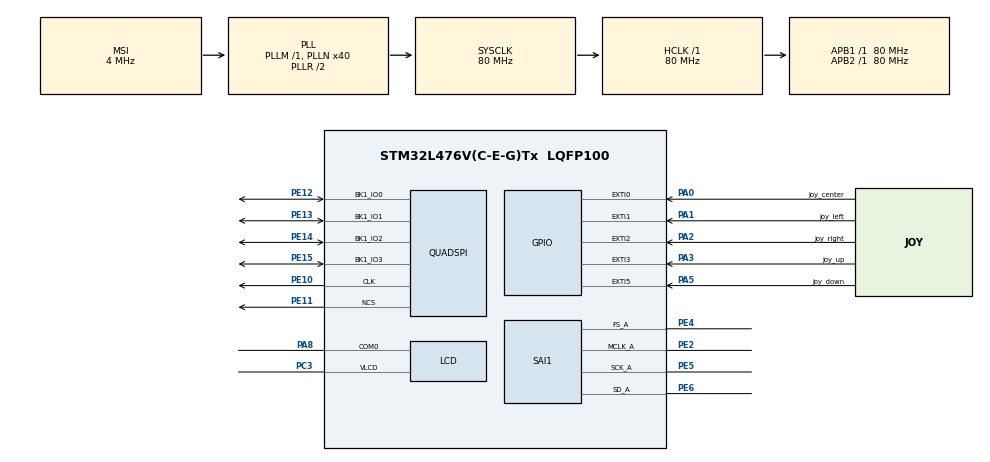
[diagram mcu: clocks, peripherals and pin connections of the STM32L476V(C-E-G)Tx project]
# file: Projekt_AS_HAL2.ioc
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DFSDM1.Filter_injChannel2_FIL0=DFSDM_CHANNEL_2
Dma.DFSDM1_FLT0.1.Direction=DMA_PERIPH_TO_MEMORY
Dma.DFSDM1_FLT0.1.Instance=DMA1_Channel4
Dma.DFSDM1_FLT0.1.MemDataAlignment=DMA_MDATAALIGN_WORD
Dma.DFSDM1_FLT0.1.MemInc=DMA_MINC_ENABLE
Dma.DFSDM1_FLT0.1.Mode=DMA_CIRCULAR
Dma.DFSDM1_FLT0.1.PeriphDataAlignment=DMA_PDATAALIGN_WORD
Dma.DFSDM1_FLT0.1.PeriphInc=DMA_PINC_DISABLE
Dma.DFSDM1_FLT0.1.Priority=DMA_PRIORITY_HIGH
Dma.Request0=SAI1_A
Dma.Request1=DFSDM1_FLT0
Dma.SAI1_A.0.Direction=DMA_MEMORY_TO_PERIPH
Dma.SAI1_A.0.Instance=DMA2_Channel1
Dma.SAI1_A.0.MemDataAlignment=DMA_MDATAALIGN_HALFWORD
Dma.SAI1_A.0.MemInc=DMA_MINC_ENABLE
Dma.SAI1_A.0.Mode=DMA_CIRCULAR
Dma.SAI1_A.0.PeriphDataAlignment=DMA_PDATAALIGN_HALFWORD
Dma.SAI1_A.0.PeriphInc=DMA_PINC_DISABLE
Dma.SAI1_A.0.Priority=DMA_PRIORITY_HIGH
Mcu.Family=STM32L4
Mcu.Name=STM32L476V(C-E-G)Tx
Mcu.Package=LQFP100
NVIC.DMA1_Channel4_IRQn=true\:0\:0\:false\:false\:true\:false
NVIC.DMA2_Channel1_IRQn=true\:0\:0\:false\:false\:true\:false
NVIC.EXTI0_IRQn=true\:0\:0\:false\:false\:true\:true
NVIC.EXTI1_IRQn=true\:0\:0\:false\:false\:true\:true
NVIC.EXTI2_IRQn=true\:0\:0\:false\:false\:true\:true
NVIC.EXTI3_IRQn=true\:0\:0\:false\:false\:true\:true
NVIC.EXTI9_5_IRQn=true\:0\:0\:false\:false\:true\:true
NVIC.PriorityGroup=NVIC_PRIORITYGROUP_4
NVIC.QUADSPI_IRQn=true\:0\:0\:false\:false\:true\:true
NVIC.SAI1_IRQn=true\:0\:0\:false\:false\:true\:true
PA0.GPIO_Label=joy_center
PA0.GPIO_ModeDefaultEXTI=GPIO_MODE_IT_FALLING
PA0.GPIO_PuPd=GPIO_PULLDOWN
PA0.Signal=GPXTI0
PA1.GPIO_Label=joy_left
PA1.GPIO_ModeDefaultEXTI=GPIO_MODE_IT_FALLING
PA1.GPIO_PuPd=GPIO_PULLDOWN
PA1.Signal=GPXTI1
PA2.GPIO_Label=joy_right
PA2.GPIO_ModeDefaultEXTI=GPIO_MODE_IT_FALLING
PA2.GPIO_PuPd=GPIO_PULLDOWN
PA2.Signal=GPXTI2
PA3.GPIO_Label=joy_up
PA3.GPIO_ModeDefaultEXTI=GPIO_MODE_IT_FALLING
PA3.GPIO_PuPd=GPIO_PULLDOWN
PA3.Signal=GPXTI3
PA5.GPIO_Label=joy_down
PA5.GPIO_ModeDefaultEXTI=GPIO_MODE_IT_FALLING
PA5.GPIO_PuPd=GPIO_PULLDOWN
PA5.Signal=GPXTI5
PA8.Mode=Static
PA8.Signal=LCD_COM0
PC3.Mode=Static
PC3.Signal=LCD_VLCD
PE10.Mode=Single Bank
PE10.Signal=QUADSPI_CLK
PE11.Mode=Single Bank
PE11.Signal=QUADSPI_NCS
PE12.Mode=Single Bank
PE12.Signal=QUADSPI_BK1_IO0
PE13.Mode=Single Bank
PE13.Signal=QUADSPI_BK1_IO1
PE14.Mode=Single Bank
PE14.Signal=QUADSPI_BK1_IO2
PE15.Mode=Single Bank
PE15.Signal=QUADSPI_BK1_IO3
PE2.Mode=SAI_A_MasterWithClock
PE2.Signal=SAI1_MCLK_A
PE4.Mode=SAI_A_MasterWithClock
PE4.Signal=SAI1_FS_A
PE5.Mode=SAI_A_MasterWithClock
PE5.Signal=SAI1_SCK_A
PE6.Mode=SAI_A_MasterWithClock
PE6.Signal=SAI1_SD_A
ProjectManager.HeapSize=0x200
ProjectManager.StackSize=0x400
ProjectManager.TargetToolchain=TrueSTUDIO
RCC.ADCFreq_Value=48000000
RCC.AHBFreq_Value=80000000
RCC.APB1Freq_Value=80000000
RCC.APB1TimFreq_Value=80000000
RCC.APB2Freq_Value=80000000
RCC.APB2TimFreq_Value=80000000
RCC.CortexFreq_Value=80000000
RCC.HCLKFreq_Value=80000000
RCC.HSE_VALUE=8000000
RCC.HSI_VALUE=16000000
RCC.LSE_VALUE=32768
RCC.MSI_VALUE=4000000
RCC.PLLN=40
RCC.PLLSAI1N=24
RCC.PLLSAI1P=RCC_PLLP_DIV17
RCC.SYSCLKFreq_VALUE=80000000
RCC.SYSCLKSource=RCC_SYSCLKSOURCE_PLLCLK
RCC.USBFreq_Value=48000000
RCC.VCOOutputFreq_Value=160000000
SAI1.ActiveFrameLength-SAI_A_MasterWithClock=16
SAI1.AudioFrequency-SAI_A_MasterWithClock=SAI_AUDIO_FREQUENCY_22K
SAI1.DataSize-SAI_A_MasterWithClock=SAI_DATASIZE_16
SAI1.ErrorAudioFreq-SAI_A_MasterWithClock=-88.51 %
SAI1.FIFOThreshold-SAI_A_MasterWithClock=SAI_FIFOTHRESHOLD_1QF
SAI1.FrameLength-SAI_A_MasterWithClock=32
SAI1.Instance-SAI_A_MasterWithClock=SAI$Index_Block_A
SAI1.MClockEnable-SAI_A_MasterWithClock=SAI_MASTERCLOCK_ENABLE
SAI1.OutputDrive-SAI_A_MasterWithClock=SAI_OUTPUTDRIVE_ENABLE
SAI1.RealAudioFreq-SAI_A_MasterWithClock=22.058 KHz
SAI1.SlotActive-SAI_A_MasterWithClock=0x00000003
SAI1.SlotNumber-SAI_A_MasterWithClock=2
SAI1.Synchro-SAI_A_MasterWithClock=SAI_ASYNCHRONOUS
SAI1.VirtualMode-SAI_A_MasterWithClock=VM_MASTER
SAI1.VirtualSlotActive-SAI_A_MasterWithClock=SAI_SLOT_USERSETTING
SAI1.VirtualSlotActive0-SAI_A_MasterWithClock=true
SAI1.VirtualSlotActive1-SAI_A_MasterWithClock=true
VP_DFSDM1_VS_IN2.Mode=Parallel_Input_ch2
board=Projekt_AS_HAL2

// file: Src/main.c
/**
  ******************************************************************************
  * @file           : main.c
  * @brief          : Main program body
  ******************************************************************************
  ** This notice applies to any and all portions of this file
  * that are not between comment pairs USER CODE BEGIN and
  * USER CODE END. Other portions of this file, whether
  * inserted by the user or by software development tools
  * are owned by their respective copyright owners.
  *
  * COPYRIGHT(c) 2018 STMicroelectronics
  *
  * Redistribution and use in source and binary forms, with or without modification,
  * are permitted provided that the following conditions are met:
  *   1. Redistributions of source code must retain the above copyright notice,
  *      this list of conditions and the following disclaimer.
  *   2. Redistributions in binary form must reproduce the above copyright notice,
  *      this list of conditions and the following disclaimer in the documentation
  *      and/or other materials provided with the distribution.
  *   3. Neither the name of STMicroelectronics nor the names of its contributors
  *      may be used to endorse or promote products derived from this software
  *      without specific prior written permission.
  *
  * THIS SOFTWARE IS PROVIDED BY THE COPYRIGHT HOLDERS AND CONTRIBUTORS "AS IS"
  * AND ANY EXPRESS OR IMPLIED WARRANTIES, INCLUDING, BUT NOT LIMITED TO, THE
  * IMPLIED WARRANTIES OF MERCHANTABILITY AND FITNESS FOR A PARTICULAR PURPOSE ARE
  * DISCLAIMED. IN NO EVENT SHALL THE COPYRIGHT HOLDER OR CONTRIBUTORS BE LIABLE
  * FOR ANY DIRECT, INDIRECT, INCIDENTAL, SPECIAL, EXEMPLARY, OR CONSEQUENTIAL
  * DAMAGES (INCLUDING, BUT NOT LIMITED TO, PROCUREMENT OF SUBSTITUTE GOODS OR
  * SERVICES; LOSS OF USE, DATA, OR PROFITS; OR BUSINESS INTERRUPTION) HOWEVER
  * CAUSED AND ON ANY THEORY OF LIABILITY, WHETHER IN CONTRACT, STRICT LIABILITY,
  * OR TORT (INCLUDING NEGLIGENCE OR OTHERWISE) ARISING IN ANY WAY OUT OF THE USE
  * OF THIS SOFTWARE, EVEN IF ADVISED OF THE POSSIBILITY OF SUCH DAMAGE.
  *
  ******************************************************************************
  */
#include "main.h"
#include "stm32l4xx_hal.h"
#include "dma.h"
#include "lcd.h"
#include "quadspi.h"
#include "sai.h"
#include "gpio.h"

/* USER CODE BEGIN Includes */
#include "cs43l22.h"
#include "stm32l476g_discovery.h"
#include "stm32l476g_discovery_glass_lcd.h"
#include "stm32l476g_discovery_qspi.h"
/* USER CODE END Includes */

/* USER CODE BEGIN PV */
/*////////////////////////////////////////////// UWAGA ////////////////////////////////////////////////////////////////////////
 * 						PRZY PRZEBUDOWYWANIU PROJEKTU W CUBE
 * 						USTAW W SYSTEMCLOCK_CONFIG
 * 						RCC_OscInitStruct.PLL.PLLM = 1;
 *						ZAKOMENTUJ //MX_LCD_INIT();
 *
 *
 *
 */
/* Private variables ---------------------------------------------------------*/
//AUDIO-------------------------------------------------------
#define AUDIO_FILE_ADDRESS   0x08080000
#define AUDIO_FILE_SIZE      (180*1024)
#define PLAY_HEADER          0x2C
#define PLAY_BUFF_SIZE       4096

AUDIO_DrvTypeDef* audio_drv;

uint8_t audio_volume = 50; //w procentach 0-100
char audio_volume_chr[2];	//audio jako string
uint16_t                     PlayBuff[PLAY_BUFF_SIZE];
__IO int16_t                 UpdatePointer = -1;
uint32_t PlaybackPosition   = PLAY_BUFF_SIZE + PLAY_HEADER;
//QSPI ----------------------------------------------------------------------------
#define BUFFER_SIZE         ((uint32_t)0x0200)
#define WRITE_READ_ADDR     ((uint32_t)0x0050)
#define QSPI_BASE_ADDR      ((uint32_t)0x90000000)
uint8_t qspi_aTxBuffer[BUFFER_SIZE];
uint8_t qspi_aRxBuffer[BUFFER_SIZE];
//APP -----------------------------------------------------------------------------

#define MENU_MAIN_OPTS_SIZE 2

//enum stanu aplikacji
typedef enum{
	state_menu,			//w glownym menu
	state_audio_play,	//w menu odtwarzania dzwieku/odtwarzanie dzwieku
	state_menu_enter,	//wykonano akcje wejscia do podmenu
	state_menu_leave	//wykonano akcje powrotu do menu glownego
}App_states;
//opcje dostepne w main menu, indeks odpowiada wyswietlanemu napisowi na LCD (patrz tablica menu_labels)
typedef enum{
	play_audio,
	record_audio
}App_menu_opts;

char* menu_labels[] = {"Play", "Rec"};
App_states app_state = state_menu;
App_menu_opts menu_curr_opt = play_audio;
/* USER CODE END PV */

void SystemClock_Config(void);

/* USER CODE BEGIN PFP */
/* Private function prototypes -----------------------------------------------*/
//AUDIO -------------------------------------------------------------------------------------------------------
static void audio_codec_init();			//inicjuje, wlacza i pauzuje audio codec
static void audio_codec_resume();		//wznawia odtwarzanie dzwieku
static void audio_codec_pause();		//pauzuje odtwarzanie dzwieku
static void audio_codec_update_volume();//aktualizuje dzwiek wartoscia zmiennej audio_volume
static void audio_buffer_init();		//inicializuje bufor audio
static void audio_play();				//wznawia codec, uruchamia odtwarzanie dzieku, pauzuje przy wyjsciu
//QSPI --------------------------------------------------------------------------------------------------------
static void qspi_test();				//test poprawnosci dzialania qspi
static void     Fill_Buffer (uint8_t *pBuffer, uint32_t uwBufferLength, uint32_t uwOffset); //napelnia bufor
static uint8_t  Buffercmp   (uint8_t* pBuffer1, uint8_t* pBuffer2, uint32_t BufferLength);	//porownuje zawartosc buforow
//APP ---------------------------------------------------------------------------------------------------------
static void app_do_action();			//wykonuje akcje na podstawie aktualnego menu i nacisnietego przycisku
void HAL_GPIO_EXTI_Callback(uint16_t GPIO_Pin);	//funkcja lapiaca przerwania z joysticka
/* USER CODE END PFP */

int main(void)
{

  /* MCU Configuration----------------------------------------------------------*/

  /* Reset of all peripherals, Initializes the Flash interface and the Systick. */
  HAL_Init();

  /* Configure the system clock */
  SystemClock_Config();

  /* Initialize all configured peripherals */
  MX_GPIO_Init();
  MX_DMA_Init();
 // MX_LCD_Init();
  MX_SAI1_Init();
  MX_QUADSPI_Init();
  /* USER CODE BEGIN 2 */
  BSP_LCD_GLASS_Init();
  //qspi_test();
  audio_codec_init();
  audio_buffer_init();

  BSP_LCD_GLASS_ScrollSentence("--AUTOMATYCZNA SEKRETARKA AS--",1,SCROLL_SPEED_HIGH);
  BSP_LCD_GLASS_Clear();
  BSP_LCD_GLASS_DisplayString(menu_labels[menu_curr_opt]);
  /* USER CODE END 2 */

  /* Infinite loop */
  /* USER CODE BEGIN WHILE */
  while (1)
  {
	  if(app_state == state_menu_enter){ //wykryto wybor podmenu
		  app_do_action();
	  }
  /* USER CODE END WHILE */

  }

}

void SystemClock_Config(void)
{

  RCC_OscInitTypeDef RCC_OscInitStruct;
  RCC_ClkInitTypeDef RCC_ClkInitStruct;
  RCC_PeriphCLKInitTypeDef PeriphClkInit;

    /**Initializes the CPU, AHB and APB busses clocks
    */
  RCC_OscInitStruct.OscillatorType = RCC_OSCILLATORTYPE_LSI|RCC_OSCILLATORTYPE_MSI;
  RCC_OscInitStruct.LSIState = RCC_LSI_ON;
  RCC_OscInitStruct.MSIState = RCC_MSI_ON;
  RCC_OscInitStruct.MSICalibrationValue = 0;
  RCC_OscInitStruct.MSIClockRange = RCC_MSIRANGE_6;
  RCC_OscInitStruct.PLL.PLLState = RCC_PLL_ON;
  RCC_OscInitStruct.PLL.PLLSource = RCC_PLLSOURCE_MSI;
  RCC_OscInitStruct.PLL.PLLN = 40;
  RCC_OscInitStruct.PLL.PLLM = 1;
  RCC_OscInitStruct.PLL.PLLP = RCC_PLLP_DIV7;
  RCC_OscInitStruct.PLL.PLLQ = RCC_PLLQ_DIV2;
  RCC_OscInitStruct.PLL.PLLR = RCC_PLLR_DIV2;
  if (HAL_RCC_OscConfig(&RCC_OscInitStruct) != HAL_OK)
  {
    _Error_Handler(__FILE__, __LINE__);
  }

    /**Initializes the CPU, AHB and APB busses clocks
    */
  RCC_ClkInitStruct.ClockType = RCC_CLOCKTYPE_HCLK|RCC_CLOCKTYPE_SYSCLK
                              |RCC_CLOCKTYPE_PCLK1|RCC_CLOCKTYPE_PCLK2;
  RCC_ClkInitStruct.SYSCLKSource = RCC_SYSCLKSOURCE_PLLCLK;
  RCC_ClkInitStruct.AHBCLKDivider = RCC_SYSCLK_DIV1;
  RCC_ClkInitStruct.APB1CLKDivider = RCC_HCLK_DIV1;
  RCC_ClkInitStruct.APB2CLKDivider = RCC_HCLK_DIV1;

  if (HAL_RCC_ClockConfig(&RCC_ClkInitStruct, FLASH_LATENCY_4) != HAL_OK)
  {
    _Error_Handler(__FILE__, __LINE__);
  }

  PeriphClkInit.PeriphClockSelection = RCC_PERIPHCLK_RTC|RCC_PERIPHCLK_SAI1;
  PeriphClkInit.Sai1ClockSelection = RCC_SAI1CLKSOURCE_PLLSAI1;
  PeriphClkInit.RTCClockSelection = RCC_RTCCLKSOURCE_LSI;
  PeriphClkInit.PLLSAI1.PLLSAI1Source = RCC_PLLSOURCE_MSI;
  PeriphClkInit.PLLSAI1.PLLSAI1M = 1;
  PeriphClkInit.PLLSAI1.PLLSAI1N = 24;
  PeriphClkInit.PLLSAI1.PLLSAI1P = RCC_PLLP_DIV17;
  PeriphClkInit.PLLSAI1.PLLSAI1Q = RCC_PLLQ_DIV2;
  PeriphClkInit.PLLSAI1.PLLSAI1R = RCC_PLLR_DIV2;
  PeriphClkInit.PLLSAI1.PLLSAI1ClockOut = RCC_PLLSAI1_SAI1CLK;
  if (HAL_RCCEx_PeriphCLKConfig(&PeriphClkInit) != HAL_OK)
  {
    _Error_Handler(__FILE__, __LINE__);
  }

    /**Configure the main internal regulator output voltage
    */
  if (HAL_PWREx_ControlVoltageScaling(PWR_REGULATOR_VOLTAGE_SCALE1) != HAL_OK)
  {
    _Error_Handler(__FILE__, __LINE__);
  }

    /**Configure the Systick interrupt time
    */
  HAL_SYSTICK_Config(HAL_RCC_GetHCLKFreq()/1000);

    /**Configure the Systick
    */
  HAL_SYSTICK_CLKSourceConfig(SYSTICK_CLKSOURCE_HCLK);

  /* SysTick_IRQn interrupt configuration */
  HAL_NVIC_SetPriority(SysTick_IRQn, 0, 0);
}

/* USER CODE BEGIN 4 */
//APP ---------------------------------------------------------------------------------------------
//wykonuje wybrane zadanie z menu glownego
void app_do_action(){
	switch(menu_curr_opt){
	case play_audio: //wybrano odtwarzanie audio
		app_state = state_audio_play;
		BSP_LCD_GLASS_Clear();
		sprintf(audio_volume_chr,"%d", audio_volume);
		BSP_LCD_GLASS_DisplayString(audio_volume_chr); //wyswietl akutalny poziom glosnosci
		audio_play();									//graj audio
		app_state = state_menu;							//wroc do menu
		BSP_LCD_GLASS_DisplayString(menu_labels[menu_curr_opt]);//zaktualizuj etykiete
		break;

	default:
		app_state = state_menu;
		break;
	}
}
//APP_END ---------------------------------------------------------------------------------------------
//QSPI -------------------------------------------------------------------------------------
static void Fill_Buffer(uint8_t *pBuffer, uint32_t uwBufferLenght, uint32_t uwOffset)
{
  uint32_t tmpIndex = 0;
  for (tmpIndex = 0; tmpIndex < uwBufferLenght; tmpIndex++ )
    pBuffer[tmpIndex] = tmpIndex + uwOffset;
}

static uint8_t Buffercmp(uint8_t* pBuffer1, uint8_t* pBuffer2, uint32_t BufferLength)
{
  while (BufferLength--)
  {
    if (*pBuffer1 != *pBuffer2)
      return 1;
    pBuffer1++;
    pBuffer2++;
  }
  return 0;
}

void qspi_test(){
	__IO uint8_t *data_ptr;
	uint32_t index;
	BSP_QSPI_Init();
	BSP_QSPI_Erase_Block(WRITE_READ_ADDR);			//wyczysc blok pamieci
	Fill_Buffer(qspi_aTxBuffer, BUFFER_SIZE, 0xD20F);//wypelnij losowa wartoscia
	BSP_QSPI_Write(qspi_aTxBuffer, WRITE_READ_ADDR, BUFFER_SIZE); //wpisz bufor pod wskazany adres
	BSP_QSPI_Read(qspi_aRxBuffer, WRITE_READ_ADDR, BUFFER_SIZE);
	if (Buffercmp(qspi_aRxBuffer, qspi_aTxBuffer, BUFFER_SIZE) > 0)
		BSP_LCD_GLASS_DisplayString("err");
	else
		BSP_LCD_GLASS_DisplayString("OK1");
	BSP_QSPI_EnableMemoryMappedMode();
	for (index = 0, data_ptr = (__IO uint8_t *) (QSPI_BASE_ADDR + WRITE_READ_ADDR); index < BUFFER_SIZE; index++, data_ptr++) {
		if (*data_ptr != qspi_aTxBuffer[index]) {
			BSP_LCD_GLASS_DisplayString("err2");
			break;
		}
	}
	if (index == BUFFER_SIZE)
		BSP_LCD_GLASS_DisplayString("OK2");
}
//QSPI_END --------------------------------------------------------------------------------------
//AUDIO -----------------------------------------------------------------------------------------
//odtwarza audio w petli dopoki nie wykryto akcji powrotu
void audio_play(){
	audio_codec_resume();
	while(app_state != state_menu_leave){
			while (UpdatePointer == -1)
				;
			//
			int position = UpdatePointer;
			UpdatePointer = -1;
			//
			/* Upate the first or the second part of the buffer */
			for (int i = 0; i < PLAY_BUFF_SIZE / 2; i++) {
				PlayBuff[i + position] = *(uint16_t *) (AUDIO_FILE_ADDRESS
						+ PlaybackPosition);
				PlaybackPosition += 2;
			}

			//    /* check the end of the file */
			if ((PlaybackPosition + PLAY_BUFF_SIZE / 2) > AUDIO_FILE_SIZE) {
				PlaybackPosition = PLAY_HEADER;
			}

			if (UpdatePointer != -1) {
				/* Buffer update time is too long compare to the data transfer time */
				Error_Handler();
			}
	}
	audio_codec_pause();

}
//pauzuje odtwarzanie audio
void audio_codec_pause(){
	audio_drv->Pause(AUDIO_I2C_ADDRESS);
}
//aktualizuje glosnosc audio
void audio_codec_update_volume(){
	audio_drv->SetVolume(AUDIO_I2C_ADDRESS,audio_volume);
}
//inicjalizuje codec i wlacza odtwarzanie audio, po czym je pauzuje
void audio_codec_init(){
	if (CS43L22_ID != cs43l22_drv.ReadID(AUDIO_I2C_ADDRESS)) {
		Error_Handler();
	}

	audio_drv = &cs43l22_drv;
	audio_drv->Reset(AUDIO_I2C_ADDRESS);
	if (audio_drv->Init(AUDIO_I2C_ADDRESS, OUTPUT_DEVICE_HEADPHONE, audio_volume, AUDIO_FREQUENCY_22K) != 0) {
		Error_Handler();
	}
	if (0 != audio_drv->Play(AUDIO_I2C_ADDRESS, NULL, 0)) {
		Error_Handler();
	}
	if (HAL_OK
			!= HAL_SAI_Transmit_DMA(&hsai_BlockA1, (uint8_t *) PlayBuff,
					PLAY_BUFF_SIZE)) {
		Error_Handler();
	}
	audio_codec_pause();

}
//wznawia odtwarzanie audio
void audio_codec_resume(){
	audio_drv->Resume(AUDIO_I2C_ADDRESS);
}
//inicjalizuje pierwsza czesc bufora audio
void audio_buffer_init(){
	if(*((uint64_t *)AUDIO_FILE_ADDRESS) != 0x017EFE2446464952 ) Error_Handler(); // czy wplik wgrany we flashu jest prawidlowy
	  for(int i=0; i < PLAY_BUFF_SIZE; i+=2)
	   {
	     PlayBuff[i]=*((__IO uint16_t *)(AUDIO_FILE_ADDRESS + PLAY_HEADER + i));
	   }
}

void HAL_SAI_TxCpltCallback(SAI_HandleTypeDef *hsai)
{

  UpdatePointer = PLAY_BUFF_SIZE/2;
}

void HAL_SAI_TxHalfCpltCallback(SAI_HandleTypeDef *hsai)
{

  UpdatePointer = 0;
}
//AUDIO_END -----------------------------------------------------------------------------------------
void HAL_GPIO_EXTI_Callback(uint16_t GPIO_Pin){
	if(GPIO_Pin == joy_center_Pin){
		if(app_state == state_menu){	//wejsc do menu
			app_state = state_menu_enter;
		}
		else						//wyjdz z menu
		{
			app_state = state_menu_leave;
		}
	}

	if (GPIO_Pin == joy_down_Pin) {
		if (app_state == state_menu) { //zmien etykiete o jedna w dol
			BSP_LCD_GLASS_Clear();
			if (menu_curr_opt == 0)
				menu_curr_opt = MENU_MAIN_OPTS_SIZE;
			menu_curr_opt = (menu_curr_opt - 1) % MENU_MAIN_OPTS_SIZE;
			BSP_LCD_GLASS_DisplayString(menu_labels[menu_curr_opt]);

		}
		if (app_state == state_audio_play) { //scisz o 10 procent
			audio_volume -= 10;
			if (audio_volume < 0)
				audio_volume = 0;
			sprintf(audio_volume_chr, "%d", audio_volume);
			BSP_LCD_GLASS_DisplayString(audio_volume_chr);
			audio_codec_update_volume();
		}
	}

	if(GPIO_Pin == joy_up_Pin){
		if(app_state == state_menu){ //zmien etykiete o jedna w gore
			BSP_LCD_GLASS_Clear();
			menu_curr_opt = (menu_curr_opt + 1) % MENU_MAIN_OPTS_SIZE;
			BSP_LCD_GLASS_DisplayString(menu_labels[menu_curr_opt]);
		}
		if(app_state == state_audio_play){ //podglos o 10 procent
			audio_volume += 10;
			if(audio_volume > 90)
				audio_volume = 90;
			sprintf(audio_volume_chr,"%d",audio_volume);
			BSP_LCD_GLASS_DisplayString(audio_volume_chr);
			audio_codec_update_volume();
		}
	}

}

/* USER CODE END 4 */

void _Error_Handler(char *file, int line)
{
  while(1)
  {
  }
}

/************************ (C) COPYRIGHT STMicroelectronics *****END OF FILE****/
